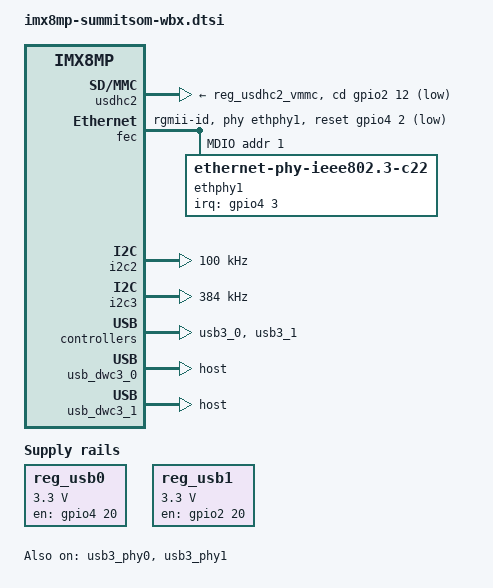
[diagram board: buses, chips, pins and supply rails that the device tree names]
// SPDX-License-Identifier: (GPL-2.0+ OR MIT)
/*
 * Copyright 2021 Laird Connectivity
 */

/ {
	reg_usb0: regulator-usb0 {
		compatible = "regulator-fixed";

		pinctrl-names = "default";
		pinctrl-0 = <&pinctrl_usb0_power>;

		regulator-name = "USB1 Power";
		regulator-min-microvolt = <3300000>;
		regulator-max-microvolt = <3300000>;

		gpio = <&gpio4 20 GPIO_ACTIVE_HIGH>;
		enable-active-high;
	};

	reg_usb1: regulator-usb1 {
		compatible = "regulator-fixed";

		pinctrl-names = "default";
		pinctrl-0 = <&pinctrl_usb1_power>;

		regulator-name = "USB2 Power";
		regulator-min-microvolt = <3300000>;
		regulator-max-microvolt = <3300000>;

		gpio = <&gpio2 20 GPIO_ACTIVE_HIGH>;
		enable-active-high;
	};
};

&reg_usdhc2_vmmc {
	status = "okay";
};

&usdhc2 {
	pinctrl-names = "default", "state_100mhz", "state_200mhz";
	pinctrl-0 = <&pinctrl_usdhc2>, <&pinctrl_usdhc2_cd>;
	pinctrl-1 = <&pinctrl_usdhc2_100mhz>, <&pinctrl_usdhc2_cd>;
	pinctrl-2 = <&pinctrl_usdhc2_200mhz>, <&pinctrl_usdhc2_cd>;

	assigned-clocks = <&clk IMX8MP_CLK_USDHC2>;
	assigned-clock-rates = <400000000>;

	cd-gpios = <&gpio2 12 GPIO_ACTIVE_LOW>;

	vmmc-supply = <&reg_usdhc2_vmmc>;

	status = "okay";
};

&fec {
	pinctrl-names = "default";
	pinctrl-0 = <&pinctrl_fec>;
	phy-mode = "rgmii-id";
	phy-handle = <&ethphy1>;
	fsl,magic-packet;
	status = "okay";

	reset-gpios = <&gpio4 2 GPIO_ACTIVE_LOW>;
	reset-delay-us = <10>;
	reset-post-delay-us = <300>;

	mdio {
		#address-cells = <1>;
		#size-cells = <0>;

		ethphy1: ethernet-phy@1 {
			compatible = "ethernet-phy-ieee802.3-c22";
			reg = <1>;

			pinctrl-names = "default";
			pinctrl-0 = <&pinctrl_fec_phy>;

			interrupt-parent = <&gpio4>;
			interrupts = <3 IRQ_TYPE_EDGE_FALLING>;

			ti,rx-internal-delay = <DP83867_RGMIIDCTL_2_00_NS>;
			ti,tx-internal-delay = <DP83867_RGMIIDCTL_2_00_NS>;
			ti,fifo-depth = <DP83867_PHYCR_FIFO_DEPTH_4_B_NIB>;
		};
	};
};

&i2c2 {
	pinctrl-names = "default";
	pinctrl-0 = <&pinctrl_i2c2>;
	status = "okay";

	clock-frequency = <100000>;
};

&i2c3 {
	pinctrl-names = "default";
	pinctrl-0 = <&pinctrl_i2c3>;
	status = "okay";

	clock-frequency = <384000>;
};

&usb3_phy0 {
	vbus-supply = <&reg_usb0>;

	fsl,phy-tx-vref-tune = <0xe>;
	fsl,phy-tx-preemp-amp-tune = <3>;
	fsl,phy-tx-vboost-level = <5>;
	fsl,phy-comp-dis-tune = <7>;
	fsl,pcs-tx-deemph-3p5db = <0x21>;
	fsl,phy-pcs-tx-swing-full = <0x7f>;

	status = "okay";
};

&usb3_0 {
	status = "okay";
};

&usb_dwc3_0 {
	dr_mode = "host";
	status = "okay";
};

&usb3_phy1 {
	vbus-supply = <&reg_usb1>;

	fsl,phy-tx-vref-tune = <0xe>;
	fsl,phy-tx-preemp-amp-tune = <3>;
	fsl,phy-tx-vboost-level = <5>;
	fsl,phy-comp-dis-tune = <7>;
	fsl,pcs-tx-deemph-3p5db = <0x21>;
	fsl,phy-pcs-tx-swing-full = <0x7f>;

	status = "okay";
};

&usb3_1 {
	status = "okay";
};

&usb_dwc3_1 {
	dr_mode = "host";
	status = "okay";
};

&iomuxc {
	pinctrl_usdhc2_cd: usdhc2_cdgrp {
		fsl,pins = <
			MX8MP_IOMUXC_SD2_CD_B__GPIO2_IO12		0x000001c4
		>;
	};

	pinctrl_usb0_power: usb0_powergrp {
		fsl,pins = <
			MX8MP_IOMUXC_SAI1_MCLK__GPIO4_IO20		0x00000016
		>;
	};

	pinctrl_usb1_power: usb1_powergrp {
		fsl,pins = <
			MX8MP_IOMUXC_SD2_WP__GPIO2_IO20			0x00000016
		>;
	};

	pinctrl_fec: fecgrp {
		fsl,pins = <
			MX8MP_IOMUXC_SAI1_RXD2__ENET1_MDC		0x00000002
			MX8MP_IOMUXC_SAI1_RXD3__ENET1_MDIO		0x00000082
			MX8MP_IOMUXC_SAI1_RXD4__ENET1_RGMII_RD0		0x00000090
			MX8MP_IOMUXC_SAI1_RXD5__ENET1_RGMII_RD1		0x00000090
			MX8MP_IOMUXC_SAI1_RXD6__ENET1_RGMII_RD2		0x00000090
			MX8MP_IOMUXC_SAI1_RXD7__ENET1_RGMII_RD3		0x00000090
			MX8MP_IOMUXC_SAI1_TXC__ENET1_RGMII_RXC		0x00000090
			MX8MP_IOMUXC_SAI1_TXFS__ENET1_RGMII_RX_CTL	0x00000090
			MX8MP_IOMUXC_SAI1_TXD0__ENET1_RGMII_TD0		0x00000016
			MX8MP_IOMUXC_SAI1_TXD1__ENET1_RGMII_TD1		0x00000016
			MX8MP_IOMUXC_SAI1_TXD2__ENET1_RGMII_TD2		0x00000016
			MX8MP_IOMUXC_SAI1_TXD3__ENET1_RGMII_TD3		0x00000016
			MX8MP_IOMUXC_SAI1_TXD4__ENET1_RGMII_TX_CTL	0x00000016
			MX8MP_IOMUXC_SAI1_TXD5__ENET1_RGMII_TXC		0x00000016
			MX8MP_IOMUXC_SAI1_RXD1__GPIO4_IO03		0x00000000
		>;
	};

	pinctrl_fec_phy: fecphygrp {
		fsl,pins = <
			MX8MP_IOMUXC_SAI1_RXD0__GPIO4_IO02		0x000001C0
		>;
	};

	pinctrl_i2c2: i2c2grp {
		fsl,pins = <
			MX8MP_IOMUXC_I2C2_SCL__I2C2_SCL			0x400001c2
			MX8MP_IOMUXC_I2C2_SDA__I2C2_SDA			0x400001c2
		>;
	};

	pinctrl_i2c3: i2c3grp {
		fsl,pins = <
			MX8MP_IOMUXC_I2C3_SCL__I2C3_SCL			0x400001c2
			MX8MP_IOMUXC_I2C3_SDA__I2C3_SDA			0x400001c2
		>;
	};
};
